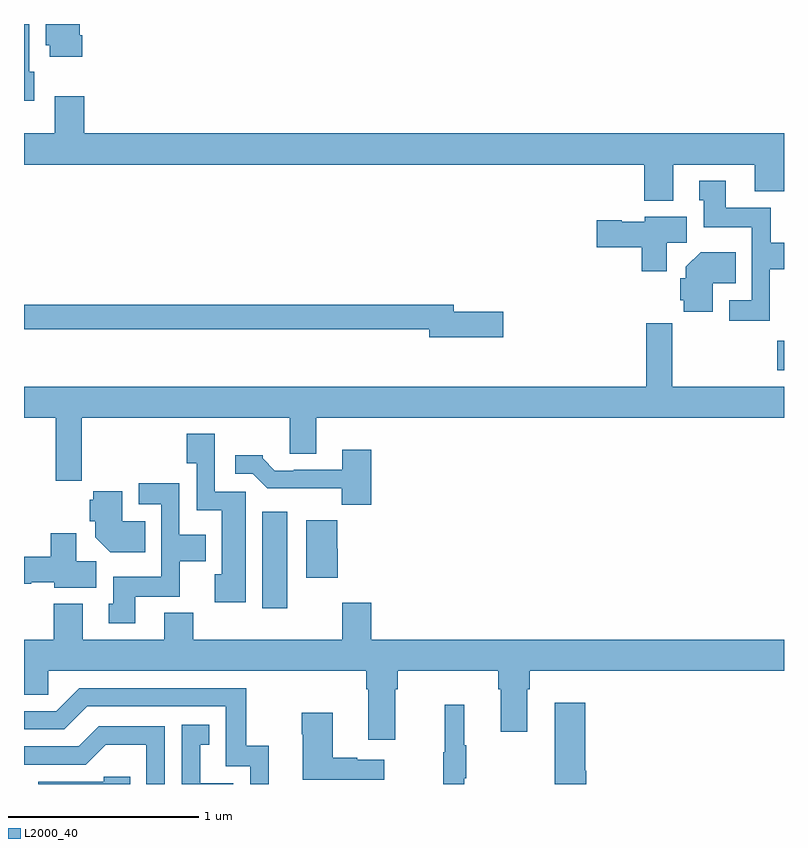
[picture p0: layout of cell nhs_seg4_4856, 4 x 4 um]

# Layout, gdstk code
import gdstk
lib = gdstk.Library(unit=1e-6, precision=1e-09)
def R(c, l, rs):  # rectangles x0, y0, x1, y1
    for r in rs: c.add(gdstk.rectangle(r[:2], r[2:], *l))
def P(c, l, *ps):  # polygons
    for p in ps: c.add(gdstk.Polygon(p, *l))
L2000_40 = (2000, 40)

nhs_seg4_4856 = lib.new_cell('nhs_seg4_4856')
R(nhs_seg4_4856, L2000_40, [(374.255,787.824,374.386,788.332), (376.964,789.078,377,789.234)])
P(nhs_seg4_4856, L2000_40, [(373.307,790.84),(373.294,790.84),(373.294,790.9),(373.115,790.9),(373.115,790.788),(373.136,790.788),(373.136,790.728),(373.307,790.728)],
  [(373.054,790.65),(373.027,790.65),(373.027,790.9),(373,790.9),(373,790.496),(373.054,790.496)],
  [(376.417,790.16),(376.847,790.16),(376.847,790.019),(377,790.019),(377,790.324),(373.316,790.324),(373.316,790.519),(373.163,790.519),(373.163,790.324),(373,790.324),(373,790.16),(376.265,790.16),(376.265,789.971),(376.417,789.971)],
  [(376.926,789.608),(377,789.608),(377,789.748),(376.929,789.748),(376.929,789.934),(376.693,789.934),(376.693,790.075),(376.553,790.075),(376.553,789.972),(376.577,789.972),(376.577,789.83),(376.83,789.83),(376.83,789.447),(376.713,789.447),(376.713,789.339),(376.926,789.339)],
  [(376.383,789.748),(376.489,789.748),(376.489,789.886),(376.266,789.886),(376.266,789.859),(376.146,789.859),(376.146,789.867),(376.014,789.867),(376.014,789.725),(376.25,789.725),(376.25,789.6),(376.383,789.6)],
  [(376.624,789.536),(376.745,789.536),(376.745,789.7),(376.562,789.7),(376.484,789.622),(376.484,789.561),(376.455,789.561),(376.455,789.447),(376.472,789.447),(376.472,789.386),(376.624,789.386)],
  [(375.523,789.386),(375.262,789.386),(375.262,789.422),(373,789.422),(373,789.294),(375.134,789.294),(375.134,789.251),(375.523,789.251)],
  [(373.304,788.828),(374.399,788.828),(374.399,788.638),(374.539,788.638),(374.539,788.828),(377,788.828),(377,788.992),(376.412,788.992),(376.412,789.325),(376.276,789.325),(376.276,788.992),(373,788.992),(373,788.828),(373.168,788.828),(373.168,788.496),(373.304,788.496)],
  [(374.167,788.439),(374.004,788.439),(374.004,788.743),(373.856,788.743),(373.856,788.587),(373.908,788.587),(373.908,788.342),(374.042,788.342),(374.042,788.003),(374.003,788.003),(374.003,787.856),(374.167,787.856)],
  [(374.828,788.659),(374.675,788.659),(374.675,788.553),(374.419,788.553),(374.419,788.55),(374.32,788.55),(374.256,788.614),(374.256,788.629),(374.112,788.629),(374.112,788.532),(374.205,788.532),(374.281,788.456),(374.673,788.456),(374.673,788.369),(374.828,788.369)],
  [(373.585,787.886),(373.82,787.886),(373.82,788.073),(373.957,788.073),(373.957,788.212),(373.818,788.212),(373.818,788.482),(373.605,788.482),(373.605,788.373),(373.722,788.373),(373.722,787.99),(373.469,787.99),(373.469,787.848),(373.445,787.848),(373.445,787.746),(373.585,787.746)],
  [(373.637,788.284),(373.516,788.284),(373.516,788.441),(373.364,788.441),(373.364,788.397),(373.346,788.397),(373.346,788.283),(373.376,788.283),(373.376,788.198),(373.454,788.12),(373.637,788.12)],
  [(374.65,788.139),(374.648,788.139),(374.648,788.287),(374.486,788.287),(374.486,787.986),(374.65,787.986)],
  [(373.381,788.072),(373.276,788.072),(373.276,788.221),(373.142,788.221),(373.142,788.096),(373,788.096),(373,787.954),(373.038,787.954),(373.038,787.961),(373.158,787.961),(373.158,787.934),(373.381,787.934)],
  [(374.953,787.4),(374.966,787.4),(374.966,787.496),(375.497,787.496),(375.497,787.4),(375.509,787.4),(375.509,787.176),(375.649,787.176),(375.649,787.4),(375.662,787.4),(375.662,787.496),(377,787.496),(377,787.66),(374.828,787.66),(374.828,787.855),(374.675,787.855),(374.675,787.66),(373.892,787.66),(373.892,787.801),(373.739,787.801),(373.739,787.66),(373.309,787.66),(373.309,787.849),(373.157,787.849),(373.157,787.66),(373,787.66),(373,787.369),(373.128,787.369),(373.128,787.496),(374.801,787.496),(374.801,787.4),(374.813,787.4),(374.813,787.134),(374.953,787.134)],
  [(374.288,787.102),(374.17,787.102),(374.17,787.404),(373.29,787.404),(373.17,787.284),(373,787.284),(373,787.188),(373.212,787.188),(373.332,787.308),(374.061,787.308),(374.061,786.993),(374.19,786.993),(374.19,786.9),(374.288,786.9)],
  [(375.958,786.969),(375.953,786.969),(375.953,787.327),(375.794,787.327),(375.794,786.9),(375.958,786.9)],
  [(375.317,786.931),(375.328,786.931),(375.328,787.105),(375.317,787.105),(375.317,787.318),(375.214,787.318),(375.214,787.068),(375.207,787.068),(375.207,786.9),(375.317,786.9)],
  [(374.896,787.027),(374.753,787.027),(374.753,787.037),(374.626,787.037),(374.626,787.276),(374.461,787.276),(374.461,787.163),(374.468,787.163),(374.468,786.923),(374.896,786.923)],
  [(374.1,786.903),(373.927,786.903),(373.927,787.107),(373.976,787.107),(373.976,787.213),(373.83,787.213),(373.83,786.9),(374.1,786.9)],
  [(373.74,787.203),(373.394,787.203),(373.289,787.098),(373,787.098),(373,787.002),(373.326,787.002),(373.43,787.106),(373.644,787.106),(373.644,786.9),(373.74,786.9)],
  [(373.559,786.939),(373.419,786.939),(373.419,786.912),(373.074,786.912),(373.074,786.9),(373.559,786.9)])

lib.write_gds('nhs_seg4_4856.gds')
